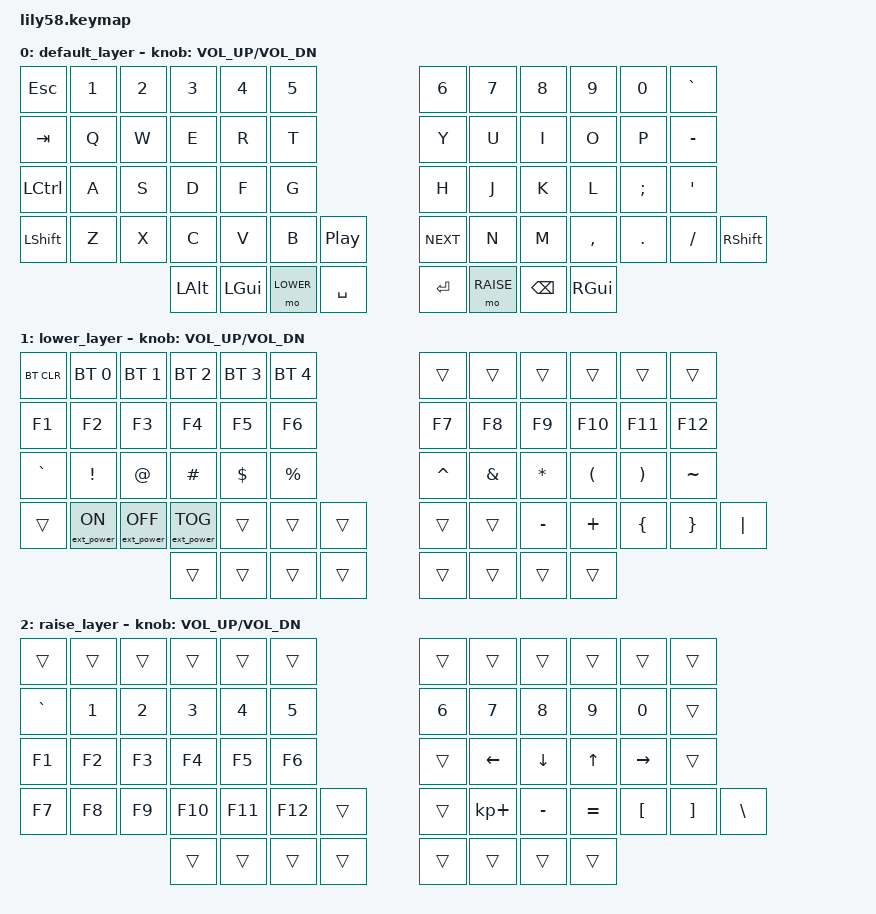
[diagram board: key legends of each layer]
/*
 * Copyright (c) 2020 The ZMK Contributors
 *
 * SPDX-License-Identifier: MIT
 */

#include <behaviors.dtsi>
#include <dt-bindings/zmk/keys.h>
#include <dt-bindings/zmk/bt.h>
#include <dt-bindings/zmk/ext_power.h>
#define DEFAULT 0
#define LOWER 1
#define RAISE 2

/ {
    keymap {
        compatible = "zmk,keymap";

        default_layer {
 // -----------------------------------------.                    ,-----------------------------------------.
 // | ESC  |   1  |   2  |   3  |   4  |   5  |                    |   6  |   7  |   8  |   9  |   0  |  `   |
 // |------+------+------+------+------+------|                    |------+------+------+------+------+------|
 // | Tab  |   Q  |   W  |   E  |   R  |   T  |                    |   Y  |   U  |   I  |   O  |   P  |  -   |
 // |------+------+------+------+------+------|                    |------+------+------+------+------+------|
 // |LCTRL |   A  |   S  |   D  |   F  |   G  |-------.    ,-------|   H  |   J  |   K  |   L  |   ;  |  '   |
 // |------+------+------+------+------+------| PLAY  |    |  NEXT |------+------+------+------+------+------|
 // |LShift|   Z  |   X  |   C  |   V  |   B  |-------|    |-------|   N  |   M  |   ,  |   .  |   /  |RShift|
 // `-----------------------------------------/       /     \      \-----------------------------------------'
 //                   | LAlt | LGUI |LOWER | /Space  /       \Enter \  |RAISE |BackSP| RGUI |
 //                   |      |      |      |/       /         \      \ |      |      |      |
 //                   `----------------------------'           '------''--------------------'

            bindings = <
&kp ESC   &kp N1 &kp N2 &kp N3   &kp N4   &kp N5                     &kp N6 &kp N7   &kp N8    &kp N9  &kp N0   &kp GRAVE
&kp TAB   &kp Q  &kp W  &kp E    &kp R    &kp T                      &kp Y  &kp U    &kp I     &kp O   &kp P    &kp MINUS
&kp LCTRL &kp A  &kp S  &kp D    &kp F    &kp G                      &kp H  &kp J    &kp K     &kp L   &kp SEMI &kp SQT
&kp LSHFT &kp Z  &kp X  &kp C    &kp V    &kp B  &kp C_PLAY_PAUSE   &kp C_NEXT &kp N  &kp M    &kp COMMA &kp DOT &kp FSLH &kp RSHFT
                        &kp LALT &kp LGUI &mo LOWER  &kp SPACE  &kp RET  &mo RAISE  &kp BSPC &kp RGUI
            >;

            sensor-bindings = <&inc_dec_kp C_VOL_UP C_VOL_DN>;
        };

        lower_layer {
// -----------------------------------------.                    ,-----------------------------------------.
// | ESC  |   1  |   2  |   3  |   4  |   5  |                    |   6  |   7  |   8  |   9  |   0  |  `   |
// |------+------+------+------+------+------|                    |------+------+------+------+------+------|
// | Tab  |   Q  |   W  |   E  |   R  |   T  |                    |   Y  |   U  |   I  |   O  |   P  |  -   |
// |------+------+------+------+------+------|                    |------+------+------+------+------+------|
// |LCTRL |   A  |   S  |   D  |   F  |   G  |-------.    ,-------|   H  |   J  |   K  |   L  |   ;  |  '   |
// |------+------+------+------+------+------| PLAY  |    |  NEXT |------+------+------+------+------+------|
// |LShift|   Z  |   X  |   C  |   V  |   B  |-------|    |-------|   N  |   M  |   ,  |   .  |   /  |RShift|
// `-----------------------------------------/       /     \      \-----------------------------------------'
//                   | LAlt | LGUI |LOWER | /Space  /       \Enter \  |RAISE |BackSP| RGUI |
//                   |      |      |      |/       /         \      \ |      |      |      |
//                   `----------------------------'           '------''--------------------'

// ------------------------------------------------------------------------------------------------------------
// | BTCLR | BT1 | BT2 |  BT3 |  BT4 |  BT5 |                   |      |       |       |      |       |       |
// |  F1   |  F2 |  F3 |  F4  |  F5  |  F6  |                   |  F7  |  F8   |  F9   |  F10 |  F11  |  F12  |
// |   `   |  !  |  @  |  #   |  $   |  %   |                   |  ^   |  &    |  //    |  (   |   )   |   ~   |
// |       |     |     |      |      |      |        |  |       |      |  _    |  +    |  {   |   }   |  "|"  |
//                     |      |      |      |        |  |       |      |       |       |
            bindings = <
&bt BT_CLR &bt BT_SEL 0     &bt BT_SEL 1      &bt BT_SEL 2      &bt BT_SEL 3 &bt BT_SEL 4                 &trans    &trans    &trans    &trans    &trans    &trans
&kp F1     &kp F2           &kp F3            &kp F4            &kp F5       &kp F6                       &kp F7    &kp F8    &kp F9    &kp F10   &kp F11   &kp F12
&kp GRAVE  &kp EXCL         &kp AT            &kp HASH          &kp DOLLAR   &kp PRCNT                    &kp CARET &kp AMPS  &kp ASTRK &kp LPAR  &kp RPAR  &kp TILDE
&trans     &ext_power EP_ON &ext_power EP_OFF &ext_power EP_TOG &trans       &trans    &trans   &trans    &trans    &kp MINUS &kp PLUS  &kp LBRC  &kp RBRC  &kp PIPE
                                              &trans            &trans       &trans    &trans   &trans    &trans    &trans    &trans
            >;

            sensor-bindings = <&inc_dec_kp C_VOL_UP C_VOL_DN>;
        };

        raise_layer {
// -----------------------------------------.                    ,-----------------------------------------.
// | ESC  |   1  |   2  |   3  |   4  |   5  |                    |   6  |   7  |   8  |   9  |   0  |  `   |
// |------+------+------+------+------+------|                    |------+------+------+------+------+------|
// | Tab  |   Q  |   W  |   E  |   R  |   T  |                    |   Y  |   U  |   I  |   O  |   P  |  -   |
// |------+------+------+------+------+------|                    |------+------+------+------+------+------|
// |LCTRL |   A  |   S  |   D  |   F  |   G  |-------.    ,-------|   H  |   J  |   K  |   L  |   ;  |  '   |
// |------+------+------+------+------+------| PLAY  |    |  NEXT |------+------+------+------+------+------|
// |LShift|   Z  |   X  |   C  |   V  |   B  |-------|    |-------|   N  |   M  |   ,  |   .  |   /  |RShift|
// `-----------------------------------------/       /     \      \-----------------------------------------'
//                   | LAlt | LGUI |LOWER | /Space  /       \Enter \  |RAISE |BackSP| RGUI |
//                   |      |      |      |/       /         \      \ |      |      |      |
//                   `----------------------------'           '------''--------------------'            

// ------------------------------------------------------------------------------------------------------------
// |       |     |     |      |      |      |                   |      |       |       |      |       |       |
// |   `   |  1  |  2  |  3   |  4   |  5   |                   |  6   |   7   |   8   |  9   |   0   |       |
// |   F1  |  F2 |  F3 |  F4  |  F5  |  F6  |                   |      |   <-  |   v   |  ^   |  ->   |       |
// |   F7  |  F8 |  F9 |  F10 |  F11 |  F12 |        |  |       |  +   |   -   |   =   |  [   |   ]   |   \   |
//                     |      |      |      |        |  |       |      |       |       |
            bindings = <
&trans    &trans &trans &trans  &trans  &trans                       &trans      &trans    &trans    &trans   &trans    &trans
&kp GRAVE &kp N1 &kp N2 &kp N3  &kp N4  &kp N5                       &kp N6      &kp N7    &kp N8    &kp N9   &kp N0    &trans
&kp F1    &kp F2 &kp F3 &kp F4  &kp F5  &kp F6                       &trans      &kp LEFT  &kp DOWN  &kp UP   &kp RIGHT &trans
&kp F7    &kp F8 &kp F9 &kp F10 &kp F11 &kp F12   &trans   &trans    &kp KP_PLUS &kp MINUS &kp EQUAL &kp LBKT &kp RBKT  &kp BSLH
                        &trans  &trans  &trans    &trans   &trans    &trans      &trans    &trans
            >;

            sensor-bindings = <&inc_dec_kp C_VOL_UP C_VOL_DN>;
        };
    };
};
